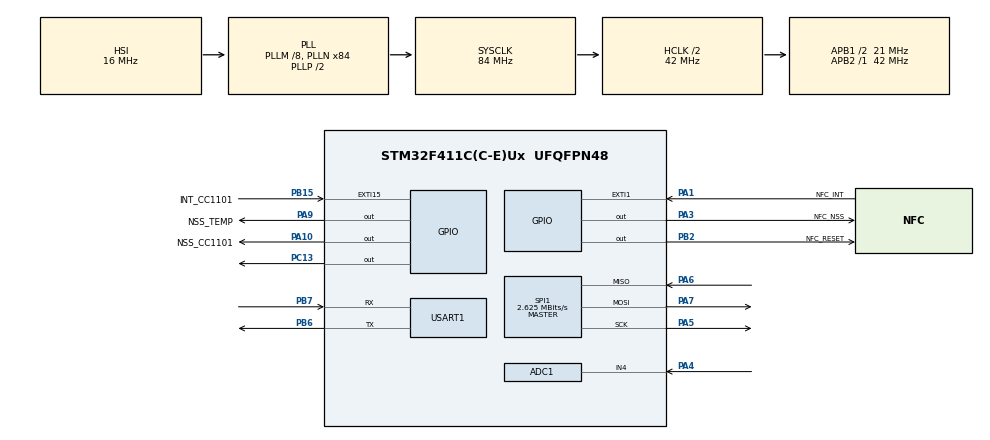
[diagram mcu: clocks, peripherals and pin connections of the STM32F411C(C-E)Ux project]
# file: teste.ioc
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ADC1.Channel-0\#ChannelRegularConversion=ADC_CHANNEL_4
ADC1.NbrOfConversionFlag=1
ADC1.Rank-0\#ChannelRegularConversion=1
ADC1.SamplingTime-0\#ChannelRegularConversion=ADC_SAMPLETIME_3CYCLES
ADC1.master=1
Mcu.Family=STM32F4
Mcu.Name=STM32F411C(C-E)Ux
Mcu.Package=UFQFPN48
NVIC.EXTI15_10_IRQn=true\:0\:0\:false\:false\:true\:true\:true\:true
NVIC.EXTI1_IRQn=true\:0\:0\:false\:false\:true\:true\:true\:true
NVIC.PriorityGroup=NVIC_PRIORITYGROUP_4
NVIC.USART1_IRQn=true\:0\:0\:false\:false\:true\:true\:true\:true
PA1.GPIO_Label=NFC_INT
PA1.GPIO_ModeDefaultEXTI=GPIO_MODE_IT_FALLING
PA1.GPIO_PuPd=GPIO_PULLUP
PA1.Signal=GPXTI1
PA10.GPIO_Label=NSS_CC1101
PA10.PinState=GPIO_PIN_SET
PA10.Signal=GPIO_Output
PA3.GPIO_Label=NFC_NSS
PA3.PinState=GPIO_PIN_SET
PA3.Signal=GPIO_Output
PA4.Signal=ADCx_IN4
PA5.Mode=Full_Duplex_Master
PA5.Signal=SPI1_SCK
PA6.Mode=Full_Duplex_Master
PA6.Signal=SPI1_MISO
PA7.Mode=Full_Duplex_Master
PA7.Signal=SPI1_MOSI
PA9.GPIO_Label=NSS_TEMP
PA9.PinState=GPIO_PIN_SET
PA9.Signal=GPIO_Output
PB15.GPIO_Label=INT_CC1101
PB15.GPIO_ModeDefaultEXTI=GPIO_MODE_IT_FALLING
PB15.GPIO_PuPd=GPIO_NOPULL
PB15.Signal=GPXTI15
PB2.GPIO_Label=NFC_RESET
PB2.PinState=GPIO_PIN_SET
PB2.Signal=GPIO_Output
PB6.Mode=Asynchronous
PB6.Signal=USART1_TX
PB7.Mode=Asynchronous
PB7.Signal=USART1_RX
PC13-ANTI_TAMP.Signal=GPIO_Output
PC14-OSC32_IN.Mode=LSE-External-Oscillator
PC14-OSC32_IN.Signal=RCC_OSC32_IN
PC15-OSC32_OUT.Mode=LSE-External-Oscillator
PC15-OSC32_OUT.Signal=RCC_OSC32_OUT
PH0\ -\ OSC_IN.Mode=HSE-External-Clock-Source
PH0\ -\ OSC_IN.Signal=RCC_OSC_IN
PH1\ -\ OSC_OUT.Mode=HSE-External-Clock-Source
PH1\ -\ OSC_OUT.Signal=RCC_OSC_OUT
ProjectManager.HeapSize=0x200
ProjectManager.StackSize=0x400
ProjectManager.TargetToolchain=CMake
RCC.48MHZClocksFreq_Value=42000000
RCC.AHBCLKDivider=RCC_SYSCLK_DIV2
RCC.AHBFreq_Value=42000000
RCC.APB1CLKDivider=RCC_HCLK_DIV2
RCC.APB1Freq_Value=21000000
RCC.APB1TimFreq_Value=42000000
RCC.APB2Freq_Value=42000000
RCC.APB2TimFreq_Value=42000000
RCC.CortexFreq_Value=42000000
RCC.HCLKFreq_Value=42000000
RCC.HSE_VALUE=25000000
RCC.HSI_VALUE=16000000
RCC.PLLM=8
RCC.PLLN=84
RCC.RCC_RTC_Clock_Source=RCC_RTCCLKSOURCE_LSE
RCC.RCC_RTC_Clock_SourceVirtual=RCC_RTCCLKSOURCE_LSE
RCC.SYSCLKFreq_VALUE=84000000
RCC.SYSCLKSource=RCC_SYSCLKSOURCE_PLLCLK
RCC.VCOOutputFreq_Value=168000000
SH.ADCx_IN4.0=ADC1_IN4,IN4
SPI1.BaudRatePrescaler=SPI_BAUDRATEPRESCALER_16
SPI1.CalculateBaudRate=2.625 MBits/s
SPI1.Direction=SPI_DIRECTION_2LINES
SPI1.Mode=SPI_MODE_MASTER
SPI1.VirtualType=VM_MASTER
USART1.VirtualMode=VM_ASYNC
VP_RTC_VS_RTC_Activate.Mode=RTC_Enabled
VP_RTC_VS_RTC_Calendar.Mode=RTC_Calendar
board=custom

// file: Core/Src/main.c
/* USER CODE BEGIN Header */
/**
  ******************************************************************************
  * @file           : main.c
  * @brief          : Main program body
  ******************************************************************************
  * @attention
  *
  * Copyright (c) 2026 STMicroelectronics.
  * All rights reserved.
  *
  * This software is licensed under terms that can be found in the LICENSE file
  * in the root directory of this software component.
  * If no LICENSE file comes with this software, it is provided AS-IS.
  *
  ******************************************************************************
  */
/* USER CODE END Header */
#include "main.h"

/* USER CODE BEGIN Includes */
#include "com_module.h"
#include "dispatcher.h"
#include "door.h"
#include "pn532.h"
#include "pn532_stm32f4.h"
#include <stdio.h>
/* USER CODE END Includes */

ADC_HandleTypeDef hadc1;

RTC_HandleTypeDef hrtc;

SPI_HandleTypeDef hspi1;

UART_HandleTypeDef huart1;

/* USER CODE BEGIN PV */
PN532 nfc;
volatile uint8_t nfc_card_ready = 0u;
volatile uint8_t s_rx_ready = 0u;
/* USER CODE END PV */

void SystemClock_Config(void);
static void MX_GPIO_Init(void);
static void MX_ADC1_Init(void);
static void MX_RTC_Init(void);
static void MX_SPI1_Init(void);
static void MX_USART1_UART_Init(void);

int main(void)
{

  /* MCU Configuration--------------------------------------------------------*/

  /* Reset of all peripherals, Initializes the Flash interface and the Systick. */
  HAL_Init();

  /* Configure the system clock */
  SystemClock_Config();

  /* Initialize all configured peripherals */
  MX_GPIO_Init();
  MX_ADC1_Init();
  MX_RTC_Init();
  MX_SPI1_Init();
  MX_USART1_UART_Init();
  /* USER CODE BEGIN 2 */
  COM_Module_Init(MY_ADDR);
  DISPATCHER_Init();
  DOOR_Init();
  NFC_SetCardCallback(DOOR_OnCardRead);
  NFC_Begin(&nfc);
  /* USER CODE END 2 */

  /* Infinite loop */
  while (1)
  {

    /* USER CODE BEGIN 3 */
    if (nfc_card_ready) {
      NFC_HandleCardEvent(&nfc);
    }
    COM_Module_Process();
    DOOR_Process();
  }
  /* USER CODE END 3 */
}

void SystemClock_Config(void)
{
  RCC_OscInitTypeDef RCC_OscInitStruct = {0};
  RCC_ClkInitTypeDef RCC_ClkInitStruct = {0};

  /** Configure the main internal regulator output voltage
  */
  __HAL_RCC_PWR_CLK_ENABLE();
  __HAL_PWR_VOLTAGESCALING_CONFIG(PWR_REGULATOR_VOLTAGE_SCALE1);

  /** Initializes the RCC Oscillators according to the specified parameters
  * in the RCC_OscInitTypeDef structure.
  */
  RCC_OscInitStruct.OscillatorType = RCC_OSCILLATORTYPE_HSI|RCC_OSCILLATORTYPE_LSE;
  RCC_OscInitStruct.LSEState = RCC_LSE_ON;
  RCC_OscInitStruct.HSIState = RCC_HSI_ON;
  RCC_OscInitStruct.HSICalibrationValue = RCC_HSICALIBRATION_DEFAULT;
  RCC_OscInitStruct.PLL.PLLState = RCC_PLL_ON;
  RCC_OscInitStruct.PLL.PLLSource = RCC_PLLSOURCE_HSI;
  RCC_OscInitStruct.PLL.PLLM = 8;
  RCC_OscInitStruct.PLL.PLLN = 84;
  RCC_OscInitStruct.PLL.PLLP = RCC_PLLP_DIV2;
  RCC_OscInitStruct.PLL.PLLQ = 4;
  if (HAL_RCC_OscConfig(&RCC_OscInitStruct) != HAL_OK)
  {
    Error_Handler();
  }

  /** Initializes the CPU, AHB and APB buses clocks
  */
  RCC_ClkInitStruct.ClockType = RCC_CLOCKTYPE_HCLK|RCC_CLOCKTYPE_SYSCLK
                              |RCC_CLOCKTYPE_PCLK1|RCC_CLOCKTYPE_PCLK2;
  RCC_ClkInitStruct.SYSCLKSource = RCC_SYSCLKSOURCE_PLLCLK;
  RCC_ClkInitStruct.AHBCLKDivider = RCC_SYSCLK_DIV2;
  RCC_ClkInitStruct.APB1CLKDivider = RCC_HCLK_DIV2;
  RCC_ClkInitStruct.APB2CLKDivider = RCC_HCLK_DIV1;

  if (HAL_RCC_ClockConfig(&RCC_ClkInitStruct, FLASH_LATENCY_1) != HAL_OK)
  {
    Error_Handler();
  }
}

static void MX_ADC1_Init(void)
{

  ADC_ChannelConfTypeDef sConfig = {0};

  /** Configure the global features of the ADC (Clock, Resolution, Data Alignment and number of conversion)
  */
  hadc1.Instance = ADC1;
  hadc1.Init.ClockPrescaler = ADC_CLOCK_SYNC_PCLK_DIV2;
  hadc1.Init.Resolution = ADC_RESOLUTION_12B;
  hadc1.Init.ScanConvMode = DISABLE;
  hadc1.Init.ContinuousConvMode = DISABLE;
  hadc1.Init.DiscontinuousConvMode = DISABLE;
  hadc1.Init.ExternalTrigConvEdge = ADC_EXTERNALTRIGCONVEDGE_NONE;
  hadc1.Init.ExternalTrigConv = ADC_SOFTWARE_START;
  hadc1.Init.DataAlign = ADC_DATAALIGN_RIGHT;
  hadc1.Init.NbrOfConversion = 1;
  hadc1.Init.DMAContinuousRequests = DISABLE;
  hadc1.Init.EOCSelection = ADC_EOC_SINGLE_CONV;
  if (HAL_ADC_Init(&hadc1) != HAL_OK)
  {
    Error_Handler();
  }

  /** Configure for the selected ADC regular channel its corresponding rank in the sequencer and its sample time.
  */
  sConfig.Channel = ADC_CHANNEL_4;
  sConfig.Rank = 1;
  sConfig.SamplingTime = ADC_SAMPLETIME_3CYCLES;
  if (HAL_ADC_ConfigChannel(&hadc1, &sConfig) != HAL_OK)
  {
    Error_Handler();
  }

}

static void MX_RTC_Init(void)
{

  RTC_TimeTypeDef sTime = {0};
  RTC_DateTypeDef sDate = {0};

  /** Initialize RTC Only
  */
  hrtc.Instance = RTC;
  hrtc.Init.HourFormat = RTC_HOURFORMAT_24;
  hrtc.Init.AsynchPrediv = 127;
  hrtc.Init.SynchPrediv = 255;
  hrtc.Init.OutPut = RTC_OUTPUT_DISABLE;
  hrtc.Init.OutPutPolarity = RTC_OUTPUT_POLARITY_HIGH;
  hrtc.Init.OutPutType = RTC_OUTPUT_TYPE_OPENDRAIN;
  if (HAL_RTC_Init(&hrtc) != HAL_OK)
  {
    Error_Handler();
  }

  /** Initialize RTC and set the Time and Date
  */
  sTime.Hours = 0x0;
  sTime.Minutes = 0x0;
  sTime.Seconds = 0x0;
  sTime.DayLightSaving = RTC_DAYLIGHTSAVING_NONE;
  sTime.StoreOperation = RTC_STOREOPERATION_RESET;
  if (HAL_RTC_SetTime(&hrtc, &sTime, RTC_FORMAT_BCD) != HAL_OK)
  {
    Error_Handler();
  }
  sDate.WeekDay = RTC_WEEKDAY_MONDAY;
  sDate.Month = RTC_MONTH_JANUARY;
  sDate.Date = 0x1;
  sDate.Year = 0x0;

  if (HAL_RTC_SetDate(&hrtc, &sDate, RTC_FORMAT_BCD) != HAL_OK)
  {
    Error_Handler();
  }

}

static void MX_SPI1_Init(void)
{

  /* SPI1 parameter configuration*/
  hspi1.Instance = SPI1;
  hspi1.Init.Mode = SPI_MODE_MASTER;
  hspi1.Init.Direction = SPI_DIRECTION_2LINES;
  hspi1.Init.DataSize = SPI_DATASIZE_8BIT;
  hspi1.Init.CLKPolarity = SPI_POLARITY_LOW;
  hspi1.Init.CLKPhase = SPI_PHASE_1EDGE;
  hspi1.Init.NSS = SPI_NSS_SOFT;
  hspi1.Init.BaudRatePrescaler = SPI_BAUDRATEPRESCALER_16;
  hspi1.Init.FirstBit = SPI_FIRSTBIT_MSB;
  hspi1.Init.TIMode = SPI_TIMODE_DISABLE;
  hspi1.Init.CRCCalculation = SPI_CRCCALCULATION_DISABLE;
  hspi1.Init.CRCPolynomial = 10;
  if (HAL_SPI_Init(&hspi1) != HAL_OK)
  {
    Error_Handler();
  }

}

static void MX_USART1_UART_Init(void)
{

  huart1.Instance = USART1;
  huart1.Init.BaudRate = 115200;
  huart1.Init.WordLength = UART_WORDLENGTH_8B;
  huart1.Init.StopBits = UART_STOPBITS_1;
  huart1.Init.Parity = UART_PARITY_NONE;
  huart1.Init.Mode = UART_MODE_TX_RX;
  huart1.Init.HwFlowCtl = UART_HWCONTROL_NONE;
  huart1.Init.OverSampling = UART_OVERSAMPLING_16;
  if (HAL_UART_Init(&huart1) != HAL_OK)
  {
    Error_Handler();
  }

}

static void MX_GPIO_Init(void)
{
  GPIO_InitTypeDef GPIO_InitStruct = {0};

  /* GPIO Ports Clock Enable */
  __HAL_RCC_GPIOC_CLK_ENABLE();
  __HAL_RCC_GPIOH_CLK_ENABLE();
  __HAL_RCC_GPIOA_CLK_ENABLE();
  __HAL_RCC_GPIOB_CLK_ENABLE();

  /*Configure GPIO pin Output Level */
  HAL_GPIO_WritePin(GPIOC, GPIO_PIN_13, GPIO_PIN_RESET);

  /*Configure GPIO pin Output Level */
  HAL_GPIO_WritePin(GPIOA, NFC_NSS_Pin|NSS_TEMP_Pin|NSS_CC1101_Pin, GPIO_PIN_SET);

  /*Configure GPIO pin Output Level */
  HAL_GPIO_WritePin(NFC_RESET_GPIO_Port, NFC_RESET_Pin, GPIO_PIN_SET);

  /*Configure GPIO pin : PC13 */
  GPIO_InitStruct.Pin = GPIO_PIN_13;
  GPIO_InitStruct.Mode = GPIO_MODE_OUTPUT_PP;
  GPIO_InitStruct.Pull = GPIO_NOPULL;
  GPIO_InitStruct.Speed = GPIO_SPEED_FREQ_LOW;
  HAL_GPIO_Init(GPIOC, &GPIO_InitStruct);

  /*Configure GPIO pin : NFC_INT_Pin */
  GPIO_InitStruct.Pin = NFC_INT_Pin;
  GPIO_InitStruct.Mode = GPIO_MODE_IT_FALLING;
  GPIO_InitStruct.Pull = GPIO_PULLUP;
  HAL_GPIO_Init(NFC_INT_GPIO_Port, &GPIO_InitStruct);

  /*Configure GPIO pins : NFC_NSS_Pin NSS_TEMP_Pin NSS_CC1101_Pin */
  GPIO_InitStruct.Pin = NFC_NSS_Pin|NSS_TEMP_Pin|NSS_CC1101_Pin;
  GPIO_InitStruct.Mode = GPIO_MODE_OUTPUT_PP;
  GPIO_InitStruct.Pull = GPIO_NOPULL;
  GPIO_InitStruct.Speed = GPIO_SPEED_FREQ_LOW;
  HAL_GPIO_Init(GPIOA, &GPIO_InitStruct);

  /*Configure GPIO pin : NFC_RESET_Pin */
  GPIO_InitStruct.Pin = NFC_RESET_Pin;
  GPIO_InitStruct.Mode = GPIO_MODE_OUTPUT_PP;
  GPIO_InitStruct.Pull = GPIO_NOPULL;
  GPIO_InitStruct.Speed = GPIO_SPEED_FREQ_LOW;
  HAL_GPIO_Init(NFC_RESET_GPIO_Port, &GPIO_InitStruct);

  /*Configure GPIO pin : INT_CC1101_Pin */
  GPIO_InitStruct.Pin = INT_CC1101_Pin;
  GPIO_InitStruct.Mode = GPIO_MODE_IT_FALLING;
  GPIO_InitStruct.Pull = GPIO_NOPULL;
  HAL_GPIO_Init(INT_CC1101_GPIO_Port, &GPIO_InitStruct);

  /* EXTI interrupt init*/
  HAL_NVIC_SetPriority(EXTI1_IRQn, 0, 0);
  HAL_NVIC_EnableIRQ(EXTI1_IRQn);

  HAL_NVIC_SetPriority(EXTI15_10_IRQn, 0, 0);
  HAL_NVIC_EnableIRQ(EXTI15_10_IRQn);

}

/* USER CODE BEGIN 4 */
int __io_putchar(int ch)
{
  HAL_UART_Transmit(&huart1, (uint8_t *)&ch, 1, 0xFFFF);
  return ch;
}

void HAL_GPIO_EXTI_Callback(uint16_t GPIO_Pin)
{
  if (GPIO_Pin == NFC_INT_Pin)
  {
    nfc_card_ready = 1u;
  }

  if (GPIO_Pin == INT_CC1101_Pin)
  {
    s_rx_ready = 1u;
  }
}
/* USER CODE END 4 */

void Error_Handler(void)
{
  __disable_irq();
  while (1) {}
}
